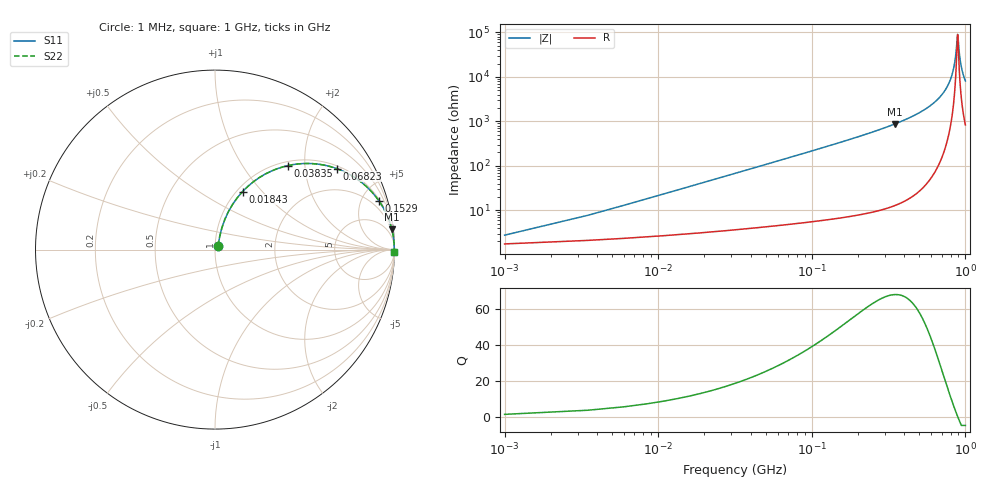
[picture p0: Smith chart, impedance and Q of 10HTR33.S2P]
! Coilcraft 1008HT-R33 Chip Inductor
! 16 July 2002
# MHZ S MA R 50
!Freq  MagS11  AngS11  MagS21  AngS21  MagS12  AngS12  MagS22  AngS22
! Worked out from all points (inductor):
!   403 points, 1 MHz to 1 GHz, reference 50 ohm
!   read as one part in series: L = 340 nH near 5.98 MHz
!   highest Q = 68.3 at 347.1 MHz (marker M1), where L = 401 nH
!   self-resonance near 889.9 MHz
!   S11 on the Smith chart (normalised r, x): 1 MHz: 1.04, +0.04; 18.43 MHz: 1.06, +0.79; 38.35 MHz: 1.08, +1.64; 68.23 MHz: 1.10, +2.93; 152.9 MHz: 1.13, +6.73; 1 GHz: open
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1  0.02718 49.4  0.9825 -1.2  0.9825 -1.2  0.02718 49.4
8.47  0.1755 72.0  0.9604 -10.0  0.9604 -10.0  0.1755 72.0
13.45  0.2705 68.7  0.9365 -15.6  0.9365 -15.6  0.2705 68.7
18.43  0.358 64.6  0.9061 -20.9  0.9061 -20.9  0.358 64.6
38.35  0.6207 49.0  0.7553 -38.3  0.7553 -38.3  0.6207 49.0
68.23  0.8141 33.7  0.555 -54.5  0.555 -54.5  0.8141 33.7
103.09  0.9042 23.9  0.405 -64.7  0.405 -64.7  0.9042 23.9
152.89  0.9534 16.5  0.2832 -72.4  0.2832 -72.4  0.9534 16.5
167.83  0.9611 15.0  0.2585 -73.9  0.2585 -73.9  0.9611 15.0
334.66  0.9911 6.8  0.119 -82.3  0.119 -82.3  0.9911 6.8
347.11  0.9919 6.5  0.1134 -82.6  0.1134 -82.6  0.9919 6.5
501.49  0.9969 3.6  0.06353 -85.4  0.06353 -85.4  0.9969 3.6
668.32  0.9986 1.7  0.03054 -86.4  0.03054 -86.4  0.9986 1.7
770.41  0.9989 0.9  0.01528 -85.4  0.01528 -85.4  0.9989 0.9
835.15  0.9989 0.4  0.006806 -80.7  0.006806 -80.7  0.9989 0.4
860.05  0.9989 0.2  0.003791 -73.3  0.003791 -73.3  0.9989 0.2
889.93  0.9989 0.0  0.001109 -2.5  0.001109 -2.5  0.9989 0.0
894.91  0.9989 -0.0  0.001237 25.7  0.001237 25.7  0.9989 -0.0
917.32  0.9989 -0.2  0.003337 69.8  0.003337 69.8  0.9989 -0.2
934.75  0.9988 -0.3  0.005244 76.9  0.005244 76.9  0.9988 -0.3
962.14  0.9988 -0.5  0.008239 81.1  0.008239 81.1  0.9988 -0.5
1000  0.9987 -0.7  0.01229 83.4  0.01229 83.4  0.9987 -0.7
